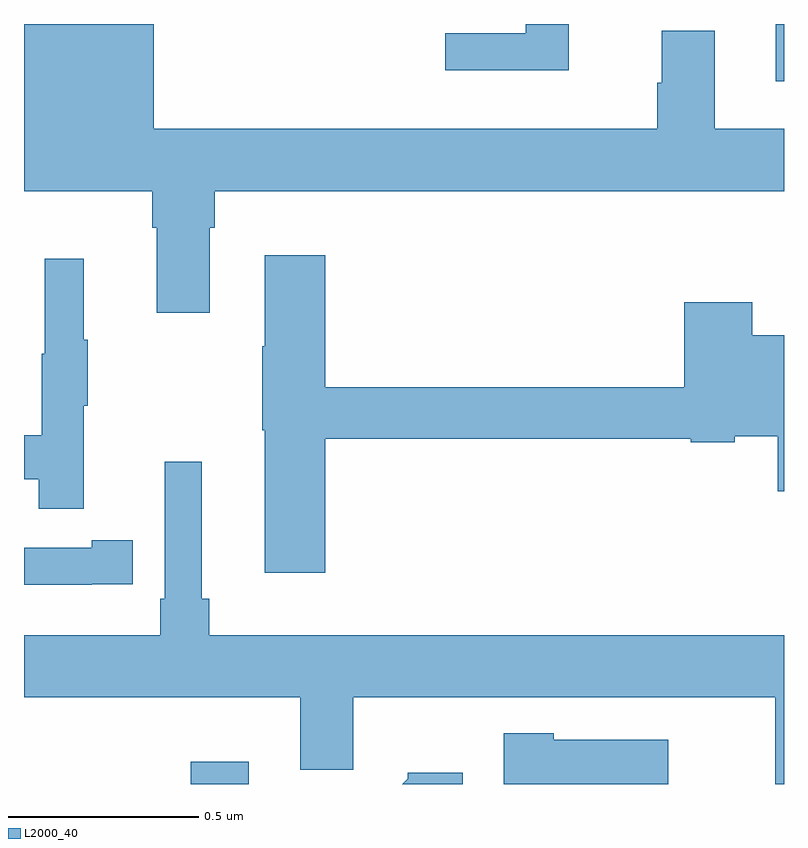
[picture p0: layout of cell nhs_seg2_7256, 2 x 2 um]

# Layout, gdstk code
import gdstk
lib = gdstk.Library(unit=1e-6, precision=1e-09)
def R(c, l, rs):  # rectangles x0, y0, x1, y1
    for r in rs: c.add(gdstk.rectangle(r[:2], r[2:], *l))
def P(c, l, *ps):  # polygons
    for p in ps: c.add(gdstk.Polygon(p, *l))
L2000_40 = (2000, 40)

nhs_seg2_7256 = lib.new_cell('nhs_seg2_7256')
R(nhs_seg2_7256, L2000_40, [(202.439,588.8,202.591,588.859), (203.978,590.649,204,590.8)])
P(nhs_seg2_7256, L2000_40, [(202.489,590.264),(202.502,590.264),(202.502,590.36),(204,590.36),(204,590.524),(203.818,590.524),(203.818,590.782),(203.678,590.782),(203.678,590.645),(203.666,590.645),(203.666,590.524),(202.342,590.524),(202.342,590.8),(202,590.8),(202,590.36),(202.337,590.36),(202.337,590.264),(202.349,590.264),(202.349,590.04),(202.489,590.04)],
  [(203.433,590.8),(203.321,590.8),(203.321,590.776),(203.109,590.776),(203.109,590.678),(203.433,590.678)],
  [(202.793,589.708),(203.754,589.708),(203.754,589.7),(203.871,589.7),(203.871,589.715),(203.984,589.715),(203.984,589.571),(204,589.571),(204,589.981),(203.916,589.981),(203.916,590.068),(203.738,590.068),(203.738,589.844),(202.793,589.844),(202.793,590.191),(202.634,590.191),(202.634,589.952),(202.627,589.952),(202.627,589.731),(202.634,589.731),(202.634,589.356),(202.793,589.356)],
  [(202.157,589.795),(202.168,589.795),(202.168,589.969),(202.157,589.969),(202.157,590.182),(202.054,590.182),(202.054,589.932),(202.047,589.932),(202.047,589.718),(202,589.718),(202,589.602),(202.039,589.602),(202.039,589.524),(202.157,589.524)],
  [(204,589.192),(202.487,589.192),(202.487,589.288),(202.468,589.288),(202.468,589.648),(202.371,589.648),(202.371,589.288),(202.358,589.288),(202.358,589.192),(202,589.192),(202,589.028),(202.727,589.028),(202.727,588.838),(202.867,588.838),(202.867,589.028),(203.977,589.028),(203.977,588.8),(204,588.8)],
  [(202.178,589.326),(202.286,589.326),(202.286,589.442),(202.178,589.442),(202.178,589.422),(202,589.422),(202,589.325),(202.178,589.325)],
  [(203.695,588.916),(203.394,588.916),(203.394,588.934),(203.262,588.934),(203.262,588.8),(203.695,588.8)],
  [(203.155,588.829),(203.01,588.829),(203.01,588.814),(202.996,588.8),(203.155,588.8)])

lib.write_gds('nhs_seg2_7256.gds')
